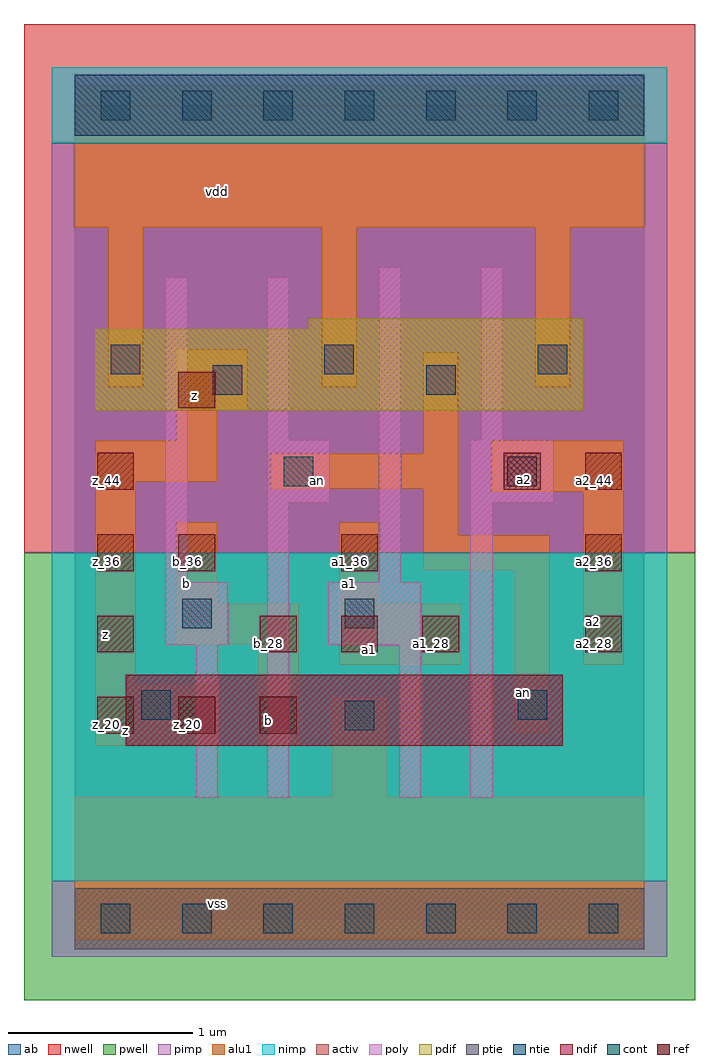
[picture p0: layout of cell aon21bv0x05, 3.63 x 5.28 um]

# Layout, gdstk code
import gdstk
lib = gdstk.Library(unit=1e-6, precision=2.5e-09)
def R(c, l, rs):  # rectangles x0, y0, x1, y1
    for r in rs: c.add(gdstk.rectangle(r[:2], r[2:], *l))
def A(c, l, x, y, w, h, nx, ny, dx, dy):  # array of equal rectangles
    R(c, l, [(x+i*dx, y+j*dy, x+i*dx+w, y+j*dy+h) for i in range(nx) for j in range(ny)])
ndif = (3, 0)
pdif = (4, 0)
ntie = (5, 0)
ptie = (6, 0)
ref = (24, 0)
cont = (25, 0)
pwell = (41, 0)
nwell = (42, 0)
activ = (43, 0)
pimp = (44, 0)
nimp = (45, 0)
poly = (46, 0)
alu1 = (49, 0)
ab = (63, 0)

aon21bv0x05 = lib.new_cell('aon21bv0x05')
R(aon21bv0x05, ndif, [(0.275,0.935,2.64,1.32)])
R(aon21bv0x05, pdif, [(0.11,2.75,2.75,3.19), (1.265,3.19,2.75,3.245)])
R(aon21bv0x05, ntie, [(0,4.235,3.08,4.565)])
R(aon21bv0x05, ptie, [(0,-0.165,3.08,0.165)])
A(aon21bv0x05, ref, 0.12, 1, 0.2, 0.2, 3, 1, 0.44, 0)
A(aon21bv0x05, ref, 0.12, 1.44, 0.2, 0.2, 1, 3, 0, 0.44)
A(aon21bv0x05, ref, 1, 1.44, 0.2, 0.2, 3, 1, 0.44, 0)
A(aon21bv0x05, ref, 2.76, 1.44, 0.2, 0.2, 1, 3, 0, 0.44)
R(aon21bv0x05, ref, [(0.56,1.88,0.76,2.08), (1.44,1.88,1.64,2.08), (2.32,2.32,2.52,2.52), (0.56,2.76,0.76,2.96)])
A(aon21bv0x05, cont, 0.14, -0.08, 0.16, 0.16, 7, 2, 0.44, 4.4)
A(aon21bv0x05, cont, 0.195, 2.945, 0.16, 0.16, 3, 1, 1.155, 0)
R(aon21bv0x05, cont, [(1.46,1.02,1.62,1.18), (0.36,1.075,0.52,1.235), (2.395,1.075,2.555,1.235), (0.58,1.57,0.74,1.73), (1.46,1.57,1.62,1.73), (1.13,2.34,1.29,2.5), (2.34,2.34,2.5,2.5), (0.745,2.835,0.905,2.995), (1.9,2.835,2.06,2.995)])
R(aon21bv0x05, pwell, [(-0.275,-0.44,3.355,1.98)])
R(aon21bv0x05, nwell, [(-0.275,1.98,3.355,4.84)])
R(aon21bv0x05, activ, [(0,-0.165,3.08,0.165), (0.275,0.935,2.64,1.32), (0.11,2.75,2.75,3.19), (1.265,3.19,2.75,3.245), (0,4.235,3.08,4.565)])
R(aon21bv0x05, pimp, [(-0.125,-0.205,3.205,0.205), (-0.125,1.98,3.205,4.195)])
R(aon21bv0x05, nimp, [(-0.125,0.205,3.205,1.98), (-0.125,4.195,3.205,4.605)])
R(aon21bv0x05, poly, [(0.655,0.655,0.775,1.48), (1.04,0.655,1.16,2.25), (1.755,0.655,1.875,1.48), (2.14,0.655,2.26,2.25), (0.49,1.48,0.83,1.82), (1.37,1.48,1.875,1.82), (0.49,1.82,0.61,3.47), (1.645,1.82,1.765,3.525), (1.04,2.25,1.38,2.59), (2.14,2.25,2.59,2.59), (1.04,2.59,1.16,3.47), (2.195,2.59,2.315,3.525)])
A(aon21bv0x05, alu1, 0.18, 2.875, 0.19, 0.865, 3, 1, 1.155, 0)
R(aon21bv0x05, alu1, [(0,-0.11,3.08,0.66), (1.39,0.66,1.69,1.195), (0.11,0.935,0.77,1.265), (0.99,0.935,1.21,1.485), (2.38,1.005,2.57,1.885), (0.11,1.265,0.33,2.365), (1.43,1.375,2.09,1.705), (2.75,1.375,2.97,2.31), (0.55,1.485,1.21,1.705), (0.55,1.705,0.77,2.145), (1.43,1.705,1.65,2.145), (1.885,1.885,2.57,2.075), (1.885,2.075,2.075,2.325), (2.255,2.31,2.97,2.585), (1.06,2.325,2.075,2.515), (0.11,2.365,0.77,2.585), (1.885,2.515,2.075,3.065), (0.55,2.585,0.77,2.75), (0.55,2.75,0.935,3.08), (0,3.74,3.08,4.51)])
R(aon21bv0x05, ab, [(0,0,3.08,4.4)])
aon21bv0x05.add(gdstk.Label('vss', (0.77,0.0825), layer=49, texttype=0))
aon21bv0x05.add(gdstk.Label('a2', (2.805,1.6075), layer=49, texttype=0))
aon21bv0x05.add(gdstk.Label('an', (2.4275,1.225), layer=49, texttype=0))
aon21bv0x05.add(gdstk.Label('a1', (1.595,1.4575), layer=49, texttype=0))
aon21bv0x05.add(gdstk.Label('b', (1.045,1.0725), layer=49, texttype=0))
aon21bv0x05.add(gdstk.Label('z', (0.275,1.0175), layer=49, texttype=0))
aon21bv0x05.add(gdstk.Label('a2', (2.4325,2.3775), layer=49, texttype=0))
aon21bv0x05.add(gdstk.Label('a1', (1.485,1.815), layer=49, texttype=0))
aon21bv0x05.add(gdstk.Label('b', (0.605,1.815), layer=49, texttype=0))
aon21bv0x05.add(gdstk.Label('an', (1.3125,2.3725), layer=49, texttype=0))
aon21bv0x05.add(gdstk.Label('z', (0.165,1.54), layer=49, texttype=0))
aon21bv0x05.add(gdstk.Label('z', (0.645,2.8325), layer=49, texttype=0))
aon21bv0x05.add(gdstk.Label('vdd', (0.77,3.9325), layer=49, texttype=0))
aon21bv0x05.add(gdstk.Label('z_20', (0.61,1.05), layer=24, texttype=0))
aon21bv0x05.add(gdstk.Label('b_36', (0.61,1.93), layer=24, texttype=0))
aon21bv0x05.add(gdstk.Label('b_20', (1.05,1.05), layer=24, texttype=0))
aon21bv0x05.add(gdstk.Label('b_28', (1.05,1.49), layer=24, texttype=0))
aon21bv0x05.add(gdstk.Label('z_20', (0.17,1.05), layer=24, texttype=0))
aon21bv0x05.add(gdstk.Label('z_28', (0.17,1.49), layer=24, texttype=0))
aon21bv0x05.add(gdstk.Label('z_36', (0.17,1.93), layer=24, texttype=0))
aon21bv0x05.add(gdstk.Label('z_44', (0.17,2.37), layer=24, texttype=0))
aon21bv0x05.add(gdstk.Label('a1_28', (1.93,1.49), layer=24, texttype=0))
aon21bv0x05.add(gdstk.Label('a1_28', (1.49,1.49), layer=24, texttype=0))
aon21bv0x05.add(gdstk.Label('a1_36', (1.49,1.93), layer=24, texttype=0))
aon21bv0x05.add(gdstk.Label('a2_36', (2.81,1.93), layer=24, texttype=0))
aon21bv0x05.add(gdstk.Label('a2_44', (2.37,2.37), layer=24, texttype=0))
aon21bv0x05.add(gdstk.Label('a2_44', (2.81,2.37), layer=24, texttype=0))
aon21bv0x05.add(gdstk.Label('z_52', (0.61,2.81), layer=24, texttype=0))
aon21bv0x05.add(gdstk.Label('a2_28', (2.81,1.49), layer=24, texttype=0))

lib.write_gds('aon21bv0x05.gds')
